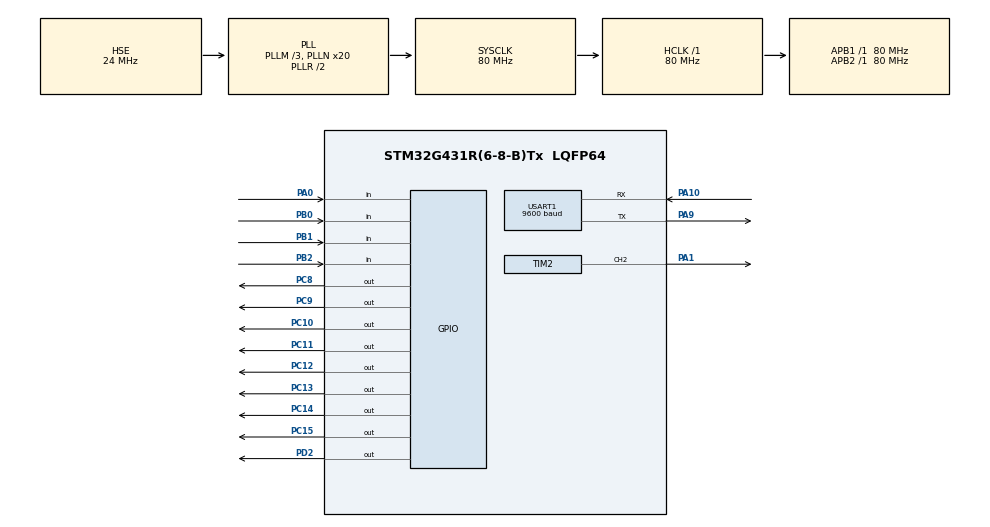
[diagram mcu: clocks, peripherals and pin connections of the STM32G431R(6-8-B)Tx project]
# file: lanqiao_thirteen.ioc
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Mcu.Family=STM32G4
Mcu.Name=STM32G431R(6-8-B)Tx
Mcu.Package=LQFP64
NVIC.PriorityGroup=NVIC_PRIORITYGROUP_4
NVIC.TIM2_IRQn=true\:0\:0\:false\:false\:true\:true\:true\:true
NVIC.USART1_IRQn=true\:0\:0\:false\:false\:true\:true\:true\:true
PA0.GPIO_Mode=GPIO_MODE_INPUT
PA0.GPIO_PuPd=GPIO_NOPULL
PA0.Signal=GPIO_Input
PA1.Signal=S_TIM2_CH2
PA10.Mode=Asynchronous
PA10.Signal=USART1_RX
PA9.Mode=Asynchronous
PA9.Signal=USART1_TX
PB0.GPIO_Mode=GPIO_MODE_INPUT
PB0.GPIO_PuPd=GPIO_NOPULL
PB0.Signal=GPIO_Input
PB1.GPIO_Mode=GPIO_MODE_INPUT
PB1.GPIO_PuPd=GPIO_NOPULL
PB1.Signal=GPIO_Input
PB2.GPIO_Mode=GPIO_MODE_INPUT
PB2.GPIO_PuPd=GPIO_NOPULL
PB2.Signal=GPIO_Input
PC10.GPIO_ModeDefaultOutputPP=GPIO_MODE_OUTPUT_PP
PC10.GPIO_PuPd=GPIO_NOPULL
PC10.GPIO_Speed=GPIO_SPEED_FREQ_LOW
PC10.PinState=GPIO_PIN_SET
PC10.Signal=GPIO_Output
PC11.GPIO_ModeDefaultOutputPP=GPIO_MODE_OUTPUT_PP
PC11.GPIO_PuPd=GPIO_NOPULL
PC11.GPIO_Speed=GPIO_SPEED_FREQ_LOW
PC11.PinState=GPIO_PIN_SET
PC11.Signal=GPIO_Output
PC12.GPIO_ModeDefaultOutputPP=GPIO_MODE_OUTPUT_PP
PC12.GPIO_PuPd=GPIO_NOPULL
PC12.GPIO_Speed=GPIO_SPEED_FREQ_LOW
PC12.PinState=GPIO_PIN_SET
PC12.Signal=GPIO_Output
PC13.GPIO_ModeDefaultOutputPP=GPIO_MODE_OUTPUT_PP
PC13.GPIO_PuPd=GPIO_NOPULL
PC13.GPIO_Speed=GPIO_SPEED_FREQ_LOW
PC13.PinState=GPIO_PIN_SET
PC13.Signal=GPIO_Output
PC14-OSC32_IN.GPIO_ModeDefaultOutputPP=GPIO_MODE_OUTPUT_PP
PC14-OSC32_IN.GPIO_PuPd=GPIO_NOPULL
PC14-OSC32_IN.GPIO_Speed=GPIO_SPEED_FREQ_LOW
PC14-OSC32_IN.PinState=GPIO_PIN_SET
PC14-OSC32_IN.Signal=GPIO_Output
PC15-OSC32_OUT.GPIO_ModeDefaultOutputPP=GPIO_MODE_OUTPUT_PP
PC15-OSC32_OUT.GPIO_PuPd=GPIO_NOPULL
PC15-OSC32_OUT.GPIO_Speed=GPIO_SPEED_FREQ_LOW
PC15-OSC32_OUT.PinState=GPIO_PIN_SET
PC15-OSC32_OUT.Signal=GPIO_Output
PC8.GPIO_ModeDefaultOutputPP=GPIO_MODE_OUTPUT_PP
PC8.GPIO_PuPd=GPIO_NOPULL
PC8.GPIO_Speed=GPIO_SPEED_FREQ_LOW
PC8.PinState=GPIO_PIN_SET
PC8.Signal=GPIO_Output
PC9.GPIO_ModeDefaultOutputPP=GPIO_MODE_OUTPUT_PP
PC9.GPIO_PuPd=GPIO_NOPULL
PC9.GPIO_Speed=GPIO_SPEED_FREQ_LOW
PC9.PinState=GPIO_PIN_SET
PC9.Signal=GPIO_Output
PD2.Signal=GPIO_Output
PF0-OSC_IN.Mode=HSE-External-Oscillator
PF0-OSC_IN.Signal=RCC_OSC_IN
PF1-OSC_OUT.Mode=HSE-External-Oscillator
PF1-OSC_OUT.Signal=RCC_OSC_OUT
ProjectManager.HeapSize=0x200
ProjectManager.StackSize=0x400
ProjectManager.TargetToolchain=MDK-ARM V5.32
RCC.ADC12Freq_Value=80000000
RCC.AHBFreq_Value=80000000
RCC.APB1Freq_Value=80000000
RCC.APB1TimFreq_Value=80000000
RCC.APB2Freq_Value=80000000
RCC.APB2TimFreq_Value=80000000
RCC.CortexFreq_Value=80000000
RCC.EXTERNAL_CLOCK_VALUE=12288000
RCC.HCLKFreq_Value=80000000
RCC.HSE_VALUE=24000000
RCC.HSI48_VALUE=48000000
RCC.HSI_VALUE=16000000
RCC.LSE_VALUE=32768
RCC.PLLM=RCC_PLLM_DIV3
RCC.PLLN=20
RCC.PLLSourceVirtual=RCC_PLLSOURCE_HSE
RCC.SYSCLKFreq_VALUE=80000000
RCC.SYSCLKSource=RCC_SYSCLKSOURCE_PLLCLK
RCC.USBFreq_Value=80000000
RCC.VCOOutputFreq_Value=160000000
SH.S_TIM2_CH2.0=TIM2_CH2,Output Compare2 CH2
TIM2.Channel-Output\ Compare2\ CH2=TIM_CHANNEL_2
TIM2.OCMode_2=TIM_OCMODE_TOGGLE
TIM2.Prescaler=79
TIM2.PulseNoDither_2=100
USART1.BaudRate=9600
USART1.VirtualMode-Asynchronous=VM_ASYNC
VP_SYS_VS_DBSignals.Mode=DisableDeadBatterySignals
VP_TIM2_VS_ClockSourceINT.Mode=Internal
board=custom

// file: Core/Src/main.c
/* USER CODE BEGIN Header */
/**
  ******************************************************************************
  * @file           : main.c
  * @brief          : Main program body
  ******************************************************************************
  * @attention
  *
  * Copyright (c) 2024 STMicroelectronics.
  * All rights reserved.
  *
  * This software is licensed under terms that can be found in the LICENSE file
  * in the root directory of this software component.
  * If no LICENSE file comes with this software, it is provided AS-IS.
  *
  ******************************************************************************
  */
/* USER CODE END Header */
#include "main.h"
#include "tim.h"
#include "usart.h"
#include "gpio.h"

/* USER CODE BEGIN Includes */
#include "BSP_key.h"
#include "lcd.h"
#include "BSP_led.h"
#include "BSP_TEST.h"
#include "stdio.h"
/* USER CODE END Includes */

void SystemClock_Config(void);

int main(void)
{

  /* MCU Configuration--------------------------------------------------------*/

  /* Reset of all peripherals, Initializes the Flash interface and the Systick. */
  HAL_Init();

  /* Configure the system clock */
  SystemClock_Config();

  /* Initialize all configured peripherals */
  MX_GPIO_Init();
  MX_TIM2_Init();
  MX_USART1_UART_Init();
  /* USER CODE BEGIN 2 */
	LCD_Init();
  HAL_TIM_OC_Start_IT(&htim2, TIM_CHANNEL_2); //定时器2比较输出
	HAL_UART_Receive_IT(&huart1, &Usart1_RxData_Temp, 1);
  /* USER CODE END 2 */

  /* Infinite loop */
  /* USER CODE BEGIN WHILE */
	sprintf((char *)Uart1_Tx_Buf, " hello world!\r\n");  //注意需要头文件："stdio.h"
  HAL_UART_Transmit(&huart1,Uart1_Tx_Buf,30,1000);	//发送接收到的数据
	LCD_Clear(Black);
	LCD_SetBackColor(Black);
	LCD_SetTextColor(White);
	jiemian_PSD();
	led_state = 0x00;//关闭led
	led_control(led_state);
  while (1)
  {
		Key_Proc();
		PWM_Proc();
		Uart_Proc();
		Led_Proc();
    /* USER CODE END WHILE */

  }
}

void SystemClock_Config(void)
{
  RCC_OscInitTypeDef RCC_OscInitStruct = {0};
  RCC_ClkInitTypeDef RCC_ClkInitStruct = {0};

  /** Configure the main internal regulator output voltage
  */
  HAL_PWREx_ControlVoltageScaling(PWR_REGULATOR_VOLTAGE_SCALE1);

  /** Initializes the RCC Oscillators according to the specified parameters
  * in the RCC_OscInitTypeDef structure.
  */
  RCC_OscInitStruct.OscillatorType = RCC_OSCILLATORTYPE_HSE;
  RCC_OscInitStruct.HSEState = RCC_HSE_ON;
  RCC_OscInitStruct.PLL.PLLState = RCC_PLL_ON;
  RCC_OscInitStruct.PLL.PLLSource = RCC_PLLSOURCE_HSE;
  RCC_OscInitStruct.PLL.PLLM = RCC_PLLM_DIV3;
  RCC_OscInitStruct.PLL.PLLN = 20;
  RCC_OscInitStruct.PLL.PLLP = RCC_PLLP_DIV2;
  RCC_OscInitStruct.PLL.PLLQ = RCC_PLLQ_DIV2;
  RCC_OscInitStruct.PLL.PLLR = RCC_PLLR_DIV2;
  if (HAL_RCC_OscConfig(&RCC_OscInitStruct) != HAL_OK)
  {
    Error_Handler();
  }

  /** Initializes the CPU, AHB and APB buses clocks
  */
  RCC_ClkInitStruct.ClockType = RCC_CLOCKTYPE_HCLK|RCC_CLOCKTYPE_SYSCLK
                              |RCC_CLOCKTYPE_PCLK1|RCC_CLOCKTYPE_PCLK2;
  RCC_ClkInitStruct.SYSCLKSource = RCC_SYSCLKSOURCE_PLLCLK;
  RCC_ClkInitStruct.AHBCLKDivider = RCC_SYSCLK_DIV1;
  RCC_ClkInitStruct.APB1CLKDivider = RCC_HCLK_DIV1;
  RCC_ClkInitStruct.APB2CLKDivider = RCC_HCLK_DIV1;

  if (HAL_RCC_ClockConfig(&RCC_ClkInitStruct, FLASH_LATENCY_2) != HAL_OK)
  {
    Error_Handler();
  }
}

void Error_Handler(void)
{
  __disable_irq();
  while (1)
  {
  }
}
